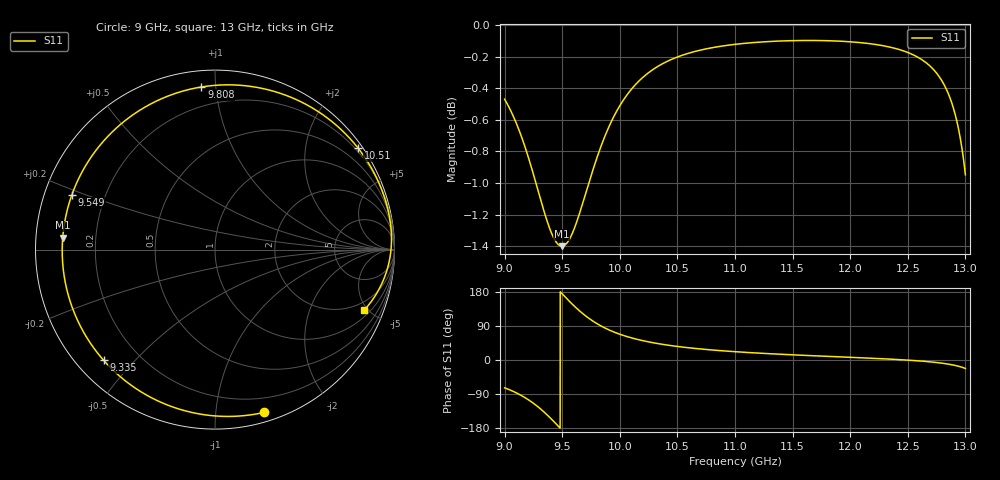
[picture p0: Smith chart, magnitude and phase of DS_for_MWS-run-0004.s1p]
! TOUCHSTONE file generated by CST DESIGN STUDIO
! Date and time: Tue Feb  4 14:11:45 2025
! Project name: C:\Work\MatlabApps\UnitCellOptimizationMatlab\CST\unitcell.cst
! Tree item: Tasks\Sweep1\SPara1\S-Parameters
! Header version: 2024
! Port assignment regex: !\s*Touchstone port\s*([0-9]+)\s*=\s*(CST MWS port|CST DES external port|CST DES block port)\s*(.+)\s* \(\"(.*)\"\)(\s*mode\s*([0-9]+))?.*
! Touchstone port assignment:
! Touchstone port 1 = CST DES external port 1 ("")
# GHz S MA R 50
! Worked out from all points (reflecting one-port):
!   4001 points, 9 GHz to 13 GHz, reference 50 ohm
!   lowest |S11| = -1.4 dB at 9.497 GHz (marker M1), VSWR 12.44, Z = 4.03 + j1.95 ohm
!   phase of S11 starts at -73 deg and turns -309 deg over the sweep
!   S11 on the Smith chart (normalised r, x): 9 GHz: 0.08, -1.34; 9.335 GHz: 0.08, -0.41; 9.549 GHz: 0.08, +0.18; 9.808 GHz: 0.09, +0.92; 10.51 GHz: 0.12, +3.14; 13 GHz: 1.36, -4.72
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9  0.9474 -73.3
9.087  0.9336 -84.5
9.192  0.9115 -102.1
9.266  0.8928 -117.8
9.335  0.8748 -135.2
9.421  0.8571 -160.4
9.459  0.8527 -172.3
9.497  0.8512 175.5
9.5  0.8512 174.5
9.549  0.8539 159.1
9.614  0.8639 139.6
9.675  0.8775 123.3
9.738  0.8929 108.6
9.808  0.9092 94.8
9.903  0.9281 79.8
10  0.9428 68.0
10.102  0.9544 58.3
10.216  0.9636 49.9
10.347  0.971 42.5
10.5  0.9769 35.8
10.513  0.9773 35.3
11  0.9859 21.9
11.5  0.9886 13.6
12  0.9878 7.1
12.5  0.9801 -0.3
12.796  0.9601 -8.3
12.909  0.9375 -14.2
13  0.8966 -22.2
